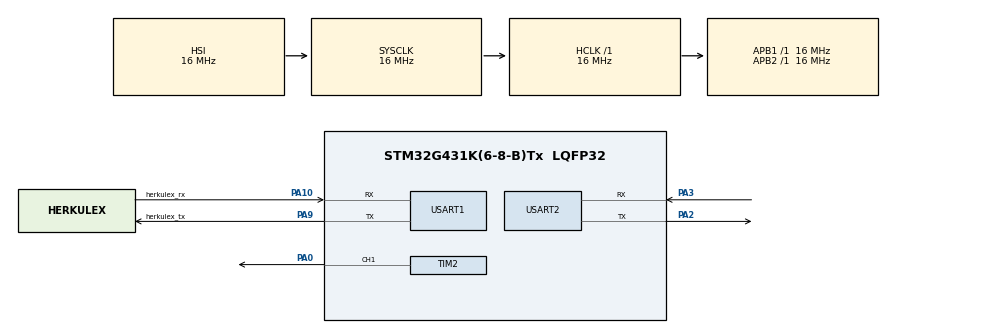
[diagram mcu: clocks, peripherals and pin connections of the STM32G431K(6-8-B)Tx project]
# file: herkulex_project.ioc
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Dma.Request0=USART1_RX
Dma.USART1_RX.0.Direction=DMA_PERIPH_TO_MEMORY
Dma.USART1_RX.0.EventEnable=DISABLE
Dma.USART1_RX.0.Instance=DMA1_Channel1
Dma.USART1_RX.0.MemDataAlignment=DMA_MDATAALIGN_BYTE
Dma.USART1_RX.0.MemInc=DMA_MINC_ENABLE
Dma.USART1_RX.0.Mode=DMA_NORMAL
Dma.USART1_RX.0.PeriphDataAlignment=DMA_PDATAALIGN_BYTE
Dma.USART1_RX.0.PeriphInc=DMA_PINC_DISABLE
Dma.USART1_RX.0.Polarity=HAL_DMAMUX_REQ_GEN_RISING
Dma.USART1_RX.0.Priority=DMA_PRIORITY_MEDIUM
Dma.USART1_RX.0.RequestNumber=1
Dma.USART1_RX.0.SignalID=NONE
Dma.USART1_RX.0.SyncEnable=DISABLE
Dma.USART1_RX.0.SyncPolarity=HAL_DMAMUX_SYNC_NO_EVENT
Dma.USART1_RX.0.SyncRequestNumber=1
Dma.USART1_RX.0.SyncSignalID=NONE
Mcu.Family=STM32G4
Mcu.Name=STM32G431K(6-8-B)Tx
Mcu.Package=LQFP32
NVIC.DMA1_Channel1_IRQn=true\:0\:0\:false\:false\:true\:false\:true\:true
NVIC.PriorityGroup=NVIC_PRIORITYGROUP_4
PA0.Signal=S_TIM2_CH1
PA10.GPIO_Label=herkulex_rx
PA10.Mode=Asynchronous
PA10.Signal=USART1_RX
PA2.Mode=Asynchronous
PA2.Signal=USART2_TX
PA3.Mode=Asynchronous
PA3.Signal=USART2_RX
PA9.GPIO_Label=herkulex_tx
PA9.Mode=Asynchronous
PA9.Signal=USART1_TX
ProjectManager.HeapSize=0x200
ProjectManager.StackSize=0x400
ProjectManager.TargetToolchain=STM32CubeIDE
RCC.AHBFreq_Value=16000000
RCC.APB1Freq_Value=16000000
RCC.APB1TimFreq_Value=16000000
RCC.APB2Freq_Value=16000000
RCC.APB2TimFreq_Value=16000000
RCC.CortexFreq_Value=16000000
RCC.EXTERNAL_CLOCK_VALUE=12288000
RCC.HCLKFreq_Value=16000000
RCC.HSE_VALUE=8000000
RCC.HSI48_VALUE=48000000
RCC.HSI_VALUE=16000000
RCC.LSE_VALUE=32768
RCC.SYSCLKFreq_VALUE=16000000
RCC.USBFreq_Value=64000000
RCC.VCOOutputFreq_Value=128000000
SH.S_TIM2_CH1.0=TIM2_CH1,PWM Generation1 CH1
TIM2.Channel-PWM\ Generation1\ CH1=TIM_CHANNEL_1
TIM2.PeriodNoDither=9999
TIM2.Prescaler=15
USART1.VirtualMode-Asynchronous=VM_ASYNC
USART2.VirtualMode-Asynchronous=VM_ASYNC
VP_SYS_VS_DBSignals.Mode=DisableDeadBatterySignals
VP_TIM2_VS_ClockSourceINT.Mode=Internal
board=custom

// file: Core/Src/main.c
/* USER CODE BEGIN Header */
/**
  ******************************************************************************
  * @file           : main.c
  * @brief          : Main program body
  ******************************************************************************
  * @attention
  *
  * Copyright (c) 2024 STMicroelectronics.
  * All rights reserved.
  *
  * This software is licensed under terms that can be found in the LICENSE file
  * in the root directory of this software component.
  * If no LICENSE file comes with this software, it is provided AS-IS.
  *
  ******************************************************************************
  */
/* USER CODE END Header */
#include "main.h"

/* USER CODE BEGIN Includes */
#include "Herkulex/herkulex.h"
/* USER CODE END Includes */

/* USER CODE BEGIN PD */
#define MOTOR_1 2
#define MOTOR_2 11
#define MOTOR_3 1

/* USER CODE END PD */

TIM_HandleTypeDef htim2;

UART_HandleTypeDef huart1;
UART_HandleTypeDef huart2;
DMA_HandleTypeDef hdma_usart1_rx;

void SystemClock_Config(void);
static void MX_GPIO_Init(void);
static void MX_DMA_Init(void);
static void MX_USART1_UART_Init(void);
static void MX_USART2_UART_Init(void);
static void MX_TIM2_Init(void);

/* USER CODE BEGIN 0 */
uint16_t info = 0;
float angle = 0.0;
/* USER CODE END 0 */

int main(void)
{
  /* USER CODE BEGIN 1 */
	Herkulex_Struct servos;

  /* USER CODE END 1 */

  /* MCU Configuration--------------------------------------------------------*/

  /* Reset of all peripherals, Initializes the Flash interface and the Systick. */
  HAL_Init();

  /* Configure the system clock */
  SystemClock_Config();

  /* Initialize all configured peripherals */
  MX_GPIO_Init();
  MX_DMA_Init();
  MX_USART1_UART_Init();
  MX_USART2_UART_Init();
  MX_TIM2_Init();
  /* USER CODE BEGIN 2 */
  Herkulex_initCommunication(&servos, &huart1);
  Herkulex_reboot(&servos, 7);
  Herkulex_initServos(&servos);
  /*-------------------------------------- TEST-------------------------------------------------*/

  Herkulex_moveOne(&servos, 7, 30, 1000, HERKULEX_LED_GREEN);
  HAL_Delay(2000);
  info = Herkulex_getPosition(&servos, 7);

  Herkulex_moveOne(&servos, 7, 500, 1000, HERKULEX_LED_GREEN);
  HAL_Delay(2000);
  //Herkulex_clearError(&servos, 7);
  //info = Herkulex_getStatus(&servos, 7);
  angle = Herkulex_getAngle(&servos, 7);
  //Herkulex_rotateOne(&servos, 7, 512, 0, 1);

  /*-------------------------------------- BRAS TEST -------------------------------------------------*/
  /*
  Herkulex_reboot(&servos, 2);
  Herkulex_reboot(&servos, 11);
  Herkulex_reboot(&servos, 1);
  Herkulex_initServos(&servos);

  // Pos Init
  __HAL_TIM_SET_COMPARE(&htim2, 0, 500);
  HAL_TIM_PWM_Start(&htim2, 0);

  Herkulex_moveOne(&servos, MOTOR_2, 900, 500, HERKULEX_LED_GREEN);
  HAL_Delay(500);

  Herkulex_moveOne(&servos, MOTOR_1, 150, 500, HERKULEX_LED_GREEN);
  HAL_Delay(500);

  Herkulex_moveOne(&servos, MOTOR_3, 700, 500, HERKULEX_LED_GREEN);
  HAL_Delay(1000);

  // Pos Attrape

  Herkulex_moveOne(&servos, MOTOR_1, 270, 500, HERKULEX_LED_GREEN);
  HAL_Delay(500);

  Herkulex_moveOne(&servos, MOTOR_2, 580, 500, HERKULEX_LED_GREEN);
  HAL_Delay(500);

  Herkulex_moveOne(&servos, MOTOR_3, 650, 500, HERKULEX_LED_GREEN);
  HAL_Delay(1000);

  __HAL_TIM_SET_COMPARE(&htim2, 0, 900);
  HAL_Delay(1000);
  __HAL_TIM_SET_COMPARE(&htim2, 0, 500);
  HAL_Delay(1000);
  // Pos Pose

  Herkulex_moveOne(&servos, MOTOR_2, 990, 500, HERKULEX_LED_GREEN);
  HAL_Delay(500);

  Herkulex_moveOne(&servos, MOTOR_1, 180, 500, HERKULEX_LED_GREEN);
  HAL_Delay(500);

  Herkulex_moveOne(&servos, MOTOR_3, 650, 500, HERKULEX_LED_GREEN);
  HAL_Delay(500);

  Herkulex_moveOne(&servos, MOTOR_2, 950, 500, HERKULEX_LED_GREEN);
  HAL_Delay(500);

  __HAL_TIM_SET_COMPARE(&htim2, 0, 900);
  HAL_Delay(500);

  // Pos Attrape

    Herkulex_moveOne(&servos, MOTOR_1, 270, 500, HERKULEX_LED_GREEN);
    HAL_Delay(500);

    Herkulex_moveOne(&servos, MOTOR_2, 580, 500, HERKULEX_LED_GREEN);
    HAL_Delay(500);

    Herkulex_moveOne(&servos, MOTOR_3, 650, 500, HERKULEX_LED_GREEN);
    HAL_Delay(1000);

    __HAL_TIM_SET_COMPARE(&htim2, 0, 900);
    HAL_Delay(1000);
    __HAL_TIM_SET_COMPARE(&htim2, 0, 500);
    HAL_Delay(1000);
    // Pos Pose

    Herkulex_moveOne(&servos, MOTOR_2, 990, 500, HERKULEX_LED_GREEN);
    HAL_Delay(500);

    Herkulex_moveOne(&servos, MOTOR_1, 180, 500, HERKULEX_LED_GREEN);
    HAL_Delay(500);

    Herkulex_moveOne(&servos, MOTOR_3, 650, 500, HERKULEX_LED_GREEN);
    HAL_Delay(500);

    Herkulex_moveOne(&servos, MOTOR_2, 950, 500, HERKULEX_LED_GREEN);
    HAL_Delay(500);

    __HAL_TIM_SET_COMPARE(&htim2, 0, 900);

    Herkulex_torqueOFF(&servos, 2);
  	Herkulex_torqueOFF(&servos, 11);
  	Herkulex_torqueOFF(&servos, 1);
    */

  /* USER CODE END 2 */

  /* Infinite loop */
  while (1)
  {

  }
}

void SystemClock_Config(void)
{
  RCC_OscInitTypeDef RCC_OscInitStruct = {0};
  RCC_ClkInitTypeDef RCC_ClkInitStruct = {0};

  /** Configure the main internal regulator output voltage
  */
  HAL_PWREx_ControlVoltageScaling(PWR_REGULATOR_VOLTAGE_SCALE1);

  /** Initializes the RCC Oscillators according to the specified parameters
  * in the RCC_OscInitTypeDef structure.
  */
  RCC_OscInitStruct.OscillatorType = RCC_OSCILLATORTYPE_HSI;
  RCC_OscInitStruct.HSIState = RCC_HSI_ON;
  RCC_OscInitStruct.HSICalibrationValue = RCC_HSICALIBRATION_DEFAULT;
  RCC_OscInitStruct.PLL.PLLState = RCC_PLL_NONE;
  if (HAL_RCC_OscConfig(&RCC_OscInitStruct) != HAL_OK)
  {
    Error_Handler();
  }

  /** Initializes the CPU, AHB and APB buses clocks
  */
  RCC_ClkInitStruct.ClockType = RCC_CLOCKTYPE_HCLK|RCC_CLOCKTYPE_SYSCLK
                              |RCC_CLOCKTYPE_PCLK1|RCC_CLOCKTYPE_PCLK2;
  RCC_ClkInitStruct.SYSCLKSource = RCC_SYSCLKSOURCE_HSI;
  RCC_ClkInitStruct.AHBCLKDivider = RCC_SYSCLK_DIV1;
  RCC_ClkInitStruct.APB1CLKDivider = RCC_HCLK_DIV1;
  RCC_ClkInitStruct.APB2CLKDivider = RCC_HCLK_DIV1;

  if (HAL_RCC_ClockConfig(&RCC_ClkInitStruct, FLASH_LATENCY_0) != HAL_OK)
  {
    Error_Handler();
  }
}

static void MX_TIM2_Init(void)
{

  TIM_ClockConfigTypeDef sClockSourceConfig = {0};
  TIM_MasterConfigTypeDef sMasterConfig = {0};
  TIM_OC_InitTypeDef sConfigOC = {0};

  htim2.Instance = TIM2;
  htim2.Init.Prescaler = 15;
  htim2.Init.CounterMode = TIM_COUNTERMODE_UP;
  htim2.Init.Period = 9999;
  htim2.Init.ClockDivision = TIM_CLOCKDIVISION_DIV1;
  htim2.Init.AutoReloadPreload = TIM_AUTORELOAD_PRELOAD_DISABLE;
  if (HAL_TIM_Base_Init(&htim2) != HAL_OK)
  {
    Error_Handler();
  }
  sClockSourceConfig.ClockSource = TIM_CLOCKSOURCE_INTERNAL;
  if (HAL_TIM_ConfigClockSource(&htim2, &sClockSourceConfig) != HAL_OK)
  {
    Error_Handler();
  }
  if (HAL_TIM_PWM_Init(&htim2) != HAL_OK)
  {
    Error_Handler();
  }
  sMasterConfig.MasterOutputTrigger = TIM_TRGO_RESET;
  sMasterConfig.MasterSlaveMode = TIM_MASTERSLAVEMODE_DISABLE;
  if (HAL_TIMEx_MasterConfigSynchronization(&htim2, &sMasterConfig) != HAL_OK)
  {
    Error_Handler();
  }
  sConfigOC.OCMode = TIM_OCMODE_PWM1;
  sConfigOC.Pulse = 0;
  sConfigOC.OCPolarity = TIM_OCPOLARITY_HIGH;
  sConfigOC.OCFastMode = TIM_OCFAST_DISABLE;
  if (HAL_TIM_PWM_ConfigChannel(&htim2, &sConfigOC, TIM_CHANNEL_1) != HAL_OK)
  {
    Error_Handler();
  }
  HAL_TIM_MspPostInit(&htim2);

}

static void MX_USART1_UART_Init(void)
{

  huart1.Instance = USART1;
  huart1.Init.BaudRate = 115200;
  huart1.Init.WordLength = UART_WORDLENGTH_8B;
  huart1.Init.StopBits = UART_STOPBITS_1;
  huart1.Init.Parity = UART_PARITY_NONE;
  huart1.Init.Mode = UART_MODE_TX_RX;
  huart1.Init.HwFlowCtl = UART_HWCONTROL_NONE;
  huart1.Init.OverSampling = UART_OVERSAMPLING_16;
  huart1.Init.OneBitSampling = UART_ONE_BIT_SAMPLE_DISABLE;
  huart1.Init.ClockPrescaler = UART_PRESCALER_DIV1;
  huart1.AdvancedInit.AdvFeatureInit = UART_ADVFEATURE_NO_INIT;
  if (HAL_UART_Init(&huart1) != HAL_OK)
  {
    Error_Handler();
  }
  if (HAL_UARTEx_SetTxFifoThreshold(&huart1, UART_TXFIFO_THRESHOLD_1_8) != HAL_OK)
  {
    Error_Handler();
  }
  if (HAL_UARTEx_SetRxFifoThreshold(&huart1, UART_RXFIFO_THRESHOLD_1_8) != HAL_OK)
  {
    Error_Handler();
  }
  if (HAL_UARTEx_DisableFifoMode(&huart1) != HAL_OK)
  {
    Error_Handler();
  }

}

static void MX_USART2_UART_Init(void)
{

  huart2.Instance = USART2;
  huart2.Init.BaudRate = 115200;
  huart2.Init.WordLength = UART_WORDLENGTH_8B;
  huart2.Init.StopBits = UART_STOPBITS_1;
  huart2.Init.Parity = UART_PARITY_NONE;
  huart2.Init.Mode = UART_MODE_TX_RX;
  huart2.Init.HwFlowCtl = UART_HWCONTROL_NONE;
  huart2.Init.OverSampling = UART_OVERSAMPLING_16;
  huart2.Init.OneBitSampling = UART_ONE_BIT_SAMPLE_DISABLE;
  huart2.Init.ClockPrescaler = UART_PRESCALER_DIV1;
  huart2.AdvancedInit.AdvFeatureInit = UART_ADVFEATURE_NO_INIT;
  if (HAL_UART_Init(&huart2) != HAL_OK)
  {
    Error_Handler();
  }
  if (HAL_UARTEx_SetTxFifoThreshold(&huart2, UART_TXFIFO_THRESHOLD_1_8) != HAL_OK)
  {
    Error_Handler();
  }
  if (HAL_UARTEx_SetRxFifoThreshold(&huart2, UART_RXFIFO_THRESHOLD_1_8) != HAL_OK)
  {
    Error_Handler();
  }
  if (HAL_UARTEx_DisableFifoMode(&huart2) != HAL_OK)
  {
    Error_Handler();
  }

}

static void MX_DMA_Init(void)
{

  /* DMA controller clock enable */
  __HAL_RCC_DMAMUX1_CLK_ENABLE();
  __HAL_RCC_DMA1_CLK_ENABLE();

  /* DMA interrupt init */
  /* DMA1_Channel1_IRQn interrupt configuration */
  HAL_NVIC_SetPriority(DMA1_Channel1_IRQn, 0, 0);
  HAL_NVIC_EnableIRQ(DMA1_Channel1_IRQn);

}

static void MX_GPIO_Init(void)
{

  /* GPIO Ports Clock Enable */
  __HAL_RCC_GPIOA_CLK_ENABLE();

}

void Error_Handler(void)
{
  __disable_irq();
  while (1)
  {
  }
}
